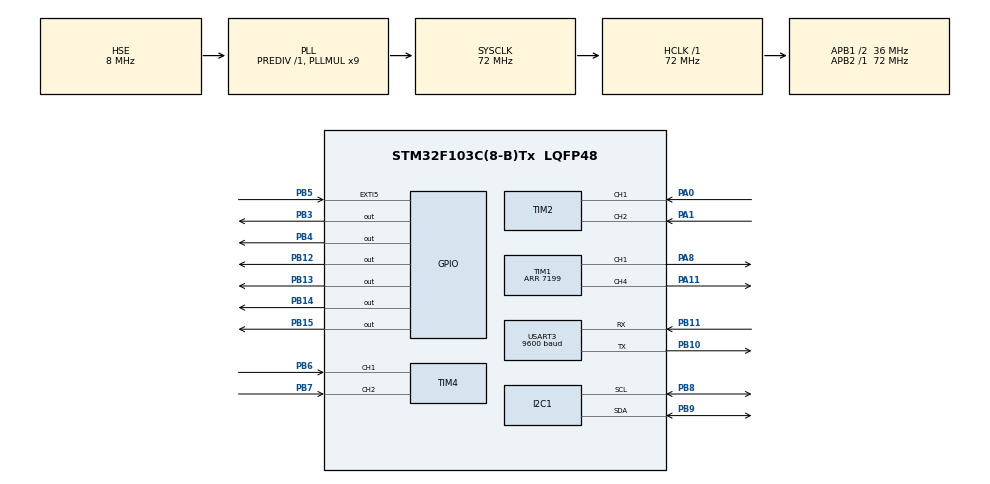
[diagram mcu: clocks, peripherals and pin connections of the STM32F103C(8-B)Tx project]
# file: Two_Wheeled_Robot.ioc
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Mcu.Family=STM32F1
Mcu.Name=STM32F103C(8-B)Tx
Mcu.Package=LQFP48
NVIC.EXTI9_5_IRQn=true\:0\:0\:false\:false\:true\:true\:true\:true
NVIC.PriorityGroup=NVIC_PRIORITYGROUP_4
NVIC.USART3_IRQn=true\:0\:0\:false\:false\:true\:true\:true\:true
PA0-WKUP.Signal=S_TIM2_CH1_ETR
PA1.Signal=S_TIM2_CH2
PA11.Signal=S_TIM1_CH4
PA13.Mode=Serial_Wire
PA13.Signal=SYS_JTMS-SWDIO
PA14.Mode=Serial_Wire
PA14.Signal=SYS_JTCK-SWCLK
PA8.Signal=S_TIM1_CH1
PB10.Mode=Asynchronous
PB10.Signal=USART3_TX
PB11.Mode=Asynchronous
PB11.Signal=USART3_RX
PB12.Signal=GPIO_Output
PB13.Signal=GPIO_Output
PB14.Signal=GPIO_Output
PB15.Signal=GPIO_Output
PB3.Signal=GPIO_Output
PB4.Signal=GPIO_Output
PB5.GPIO_ModeDefaultEXTI=GPIO_MODE_IT_FALLING
PB5.GPIO_PuPd=GPIO_PULLUP
PB5.Signal=GPXTI5
PB6.Signal=S_TIM4_CH1
PB7.Signal=S_TIM4_CH2
PB8.Mode=I2C
PB8.Signal=I2C1_SCL
PB9.Mode=I2C
PB9.Signal=I2C1_SDA
PC14-OSC32_IN.Mode=LSE-External-Oscillator
PC14-OSC32_IN.Signal=RCC_OSC32_IN
PC15-OSC32_OUT.Mode=LSE-External-Oscillator
PC15-OSC32_OUT.Signal=RCC_OSC32_OUT
PD0-OSC_IN.Mode=HSE-External-Oscillator
PD0-OSC_IN.Signal=RCC_OSC_IN
PD1-OSC_OUT.Mode=HSE-External-Oscillator
PD1-OSC_OUT.Signal=RCC_OSC_OUT
ProjectManager.HeapSize=0x200
ProjectManager.StackSize=0x400
ProjectManager.TargetToolchain=MDK-ARM V5.32
RCC.AHBFreq_Value=72000000
RCC.APB1CLKDivider=RCC_HCLK_DIV2
RCC.APB1Freq_Value=36000000
RCC.APB1TimFreq_Value=72000000
RCC.APB2Freq_Value=72000000
RCC.APB2TimFreq_Value=72000000
RCC.HCLKFreq_Value=72000000
RCC.PLLMUL=RCC_PLL_MUL9
RCC.PLLSourceVirtual=RCC_PLLSOURCE_HSE
RCC.SYSCLKFreq_VALUE=72000000
RCC.SYSCLKSource=RCC_SYSCLKSOURCE_PLLCLK
RCC.USBFreq_Value=72000000
SH.S_TIM1_CH1.0=TIM1_CH1,PWM Generation1 CH1
SH.S_TIM1_CH4.0=TIM1_CH4,PWM Generation4 CH4
SH.S_TIM2_CH1_ETR.0=TIM2_CH1,Encoder_Interface
SH.S_TIM2_CH2.0=TIM2_CH2,Encoder_Interface
SH.S_TIM4_CH1.0=TIM4_CH1,Encoder_Interface
SH.S_TIM4_CH2.0=TIM4_CH2,Encoder_Interface
TIM1.Channel-PWM\ Generation1\ CH1=TIM_CHANNEL_1
TIM1.Channel-PWM\ Generation4\ CH4=TIM_CHANNEL_4
TIM1.Period=7199
TIM1.Pulse-PWM\ Generation1\ CH1=7200
TIM1.Pulse-PWM\ Generation4\ CH4=7200
TIM2.EncoderMode=TIM_ENCODERMODE_TI12
TIM4.EncoderMode=TIM_ENCODERMODE_TI12
USART3.BaudRate=9600
USART3.VirtualMode=VM_ASYNC
board=custom

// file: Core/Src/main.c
/* USER CODE BEGIN Header */
/**
 ******************************************************************************
 * @file           : main.c
 * @brief          : Main program body
 ******************************************************************************
 * @attention
 *
 * Copyright (c) 2025 STMicroelectronics.
 * All rights reserved.
 *
 * This software is licensed under terms that can be found in the LICENSE file
 * in the root directory of this software component.
 * If no LICENSE file comes with this software, it is provided AS-IS.
 *
 ******************************************************************************
 */
/* USER CODE END Header */
#include "main.h"
#include "i2c.h"
#include "tim.h"
#include "usart.h"
#include "gpio.h"

/* USER CODE BEGIN Includes */
#include "header.h"
/* USER CODE END Includes */

/* USER CODE BEGIN PV */
extern float roll;
uint8_t Display_Buffer[20];
uint32_t sys_tick = 0;
int Encoder_Left, Encoder_Right = 0;
uint8_t rx_buffer[2];
int Robot_enabel = 0;
extern TIM_HandleTypeDef htim1;
/* USER CODE END PV */

void SystemClock_Config(void);

/* USER CODE BEGIN 0 */
//void Bluetoot_Control()
//{
//  if( Rx_Buffer[0]== 0x11)
//  {
//      Robot_enabel = 1;
//  }
//	else if( Rx_Buffer[0]== 0x13)
//  {
//      Robot_enabel = 0;
//  }
//}
void Read(void)
{
  if (uwTick - sys_tick < 10)
    return;
  sys_tick = uwTick;
  Encoder_Left = Read_Speed(htim2);
  Encoder_Right = -Read_Speed(htim4);

}

/* USER CODE END 0 */

int main(void)
{

  /* MCU Configuration--------------------------------------------------------*/

  /* Reset of all peripherals, Initializes the Flash interface and the Systick. */
  HAL_Init();

  /* Configure the system clock */
  SystemClock_Config();

  /* Initialize all configured peripherals */
  MX_GPIO_Init();
  MX_I2C1_Init();
  MX_TIM1_Init();
  MX_TIM2_Init();
  MX_TIM4_Init();
  MX_USART3_UART_Init();
  /* USER CODE BEGIN 2 */
  OLED_Init();
  OLED_Clear();
  MPU_Init();
  mpu_dmp_init();
  HAL_NVIC_SetPriority(EXTI9_5_IRQn, 0, 0);
  HAL_NVIC_EnableIRQ(EXTI9_5_IRQn);
  HAL_TIM_PWM_Start(&htim1, TIM_CHANNEL_1);
  HAL_TIM_PWM_Start(&htim1, TIM_CHANNEL_4);
  HAL_TIM_Encoder_Start(&htim2, TIM_CHANNEL_ALL);
  HAL_TIM_Encoder_Start(&htim4, TIM_CHANNEL_ALL);
  HAL_UART_Receive_IT(&huart3, rx_buffer, 1);
	Robot_enabel = 1;
   Load(0,0);
  /* USER CODE END 2 */

  /* Infinite loop */
  while (1)
  {

    /* USER CODE BEGIN 3 */
    // mpu_dmp_get_data(&pitch, &roll, &yaw);
    // Read();
    // OLED_ShowString(0, 4, Display_Buffer, 16);
    // sprintf((char *)Display_Buffer, "Encoder_R:%d ", Encoder_Right);
    // OLED_ShowString(0, 6, Display_Buffer, 16);
    // sprintf((char *)Display_Buffer, "roll:%.2f", roll);
   // OLED_ShowString(0, 2, Display_Buffer, 16);
    HAL_UART_Transmit(&huart3, Display_Buffer, sizeof(Display_Buffer), 1000);
    sprintf((char *)Display_Buffer,"Encoder_L:%d   ",Encoder_Left);
		OLED_ShowString(0,0,Display_Buffer,16);
		sprintf((char *)Display_Buffer,"Encoder_R:%d   ",Encoder_Right);
		OLED_ShowString(0,2,Display_Buffer,16);
		sprintf((char *)Display_Buffer,"roll:%.1f   ",roll);
		OLED_ShowString(0,4,Display_Buffer,16);

  }
  /* USER CODE END 3 */
}

void SystemClock_Config(void)
{
  RCC_OscInitTypeDef RCC_OscInitStruct = {0};
  RCC_ClkInitTypeDef RCC_ClkInitStruct = {0};

  /** Initializes the RCC Oscillators according to the specified parameters
  * in the RCC_OscInitTypeDef structure.
  */
  RCC_OscInitStruct.OscillatorType = RCC_OSCILLATORTYPE_HSE;
  RCC_OscInitStruct.HSEState = RCC_HSE_ON;
  RCC_OscInitStruct.HSEPredivValue = RCC_HSE_PREDIV_DIV1;
  RCC_OscInitStruct.HSIState = RCC_HSI_ON;
  RCC_OscInitStruct.PLL.PLLState = RCC_PLL_ON;
  RCC_OscInitStruct.PLL.PLLSource = RCC_PLLSOURCE_HSE;
  RCC_OscInitStruct.PLL.PLLMUL = RCC_PLL_MUL9;
  if (HAL_RCC_OscConfig(&RCC_OscInitStruct) != HAL_OK)
  {
    Error_Handler();
  }

  /** Initializes the CPU, AHB and APB buses clocks
  */
  RCC_ClkInitStruct.ClockType = RCC_CLOCKTYPE_HCLK|RCC_CLOCKTYPE_SYSCLK
                              |RCC_CLOCKTYPE_PCLK1|RCC_CLOCKTYPE_PCLK2;
  RCC_ClkInitStruct.SYSCLKSource = RCC_SYSCLKSOURCE_PLLCLK;
  RCC_ClkInitStruct.AHBCLKDivider = RCC_SYSCLK_DIV1;
  RCC_ClkInitStruct.APB1CLKDivider = RCC_HCLK_DIV2;
  RCC_ClkInitStruct.APB2CLKDivider = RCC_HCLK_DIV1;

  if (HAL_RCC_ClockConfig(&RCC_ClkInitStruct, FLASH_LATENCY_2) != HAL_OK)
  {
    Error_Handler();
  }
}

/* USER CODE BEGIN 4 */
void HAL_GPIO_EXTI_Callback(uint16_t GPIO_Pin)
{
	if(GPIO_Pin==GPIO_PIN_5)
		Control();
}
/* USER CODE END 4 */

void Error_Handler(void)
{
  __disable_irq();
  while (1)
  {
  }
}
